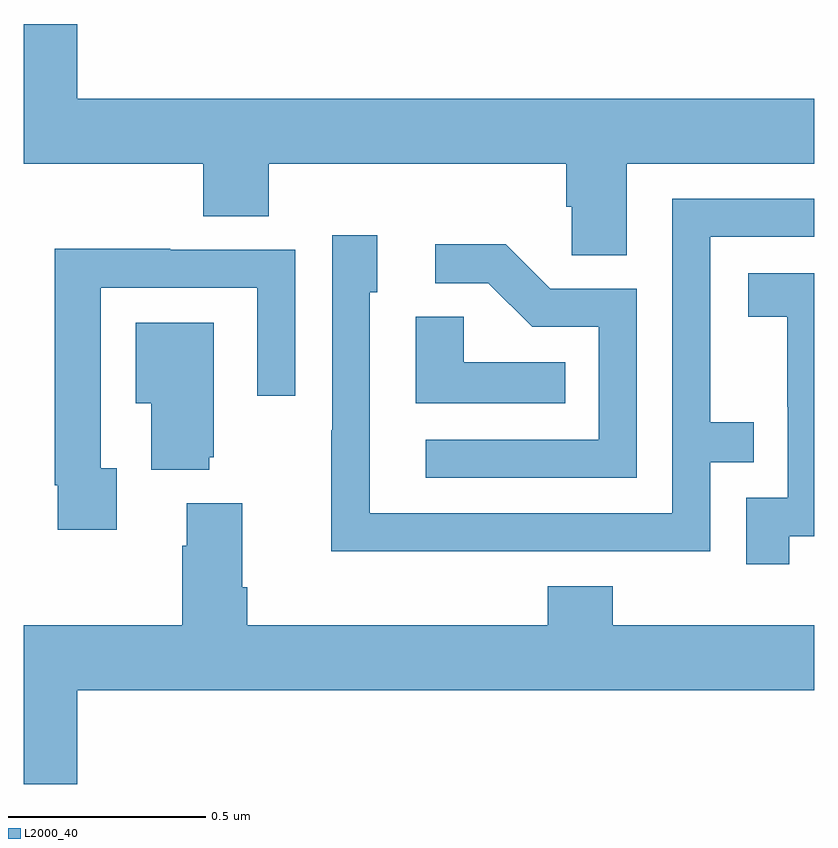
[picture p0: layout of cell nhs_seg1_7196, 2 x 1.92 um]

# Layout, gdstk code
import gdstk
lib = gdstk.Library(unit=1e-6, precision=1e-09)
def P(c, l, *ps):  # polygons
    for p in ps: c.add(gdstk.Polygon(p, *l))
L2000_40 = (2000, 40)

nhs_seg1_7196 = lib.new_cell('nhs_seg1_7196')
P(nhs_seg1_7196, L2000_40, [(202.525,515.768),(203,515.768),(203,515.932),(201.136,515.932),(201.136,516.121),(201,516.121),(201,515.768),(201.455,515.768),(201.455,515.635),(201.62,515.635),(201.62,515.768),(202.373,515.768),(202.373,515.659),(202.386,515.659),(202.386,515.536),(202.525,515.536)],
  [(202.241,514.788),(202.737,514.788),(202.737,515.013),(202.847,515.013),(202.847,515.114),(202.737,515.114),(202.737,515.583),(203,515.583),(203,515.679),(202.641,515.679),(202.641,514.884),(201.876,514.884),(201.876,515.442),(201.895,515.442),(201.895,515.587),(201.78,515.587),(201.78,515.093),(201.778,515.093),(201.778,514.787),(202.241,514.787)],
  [(202.551,515.451),(202.332,515.451),(202.219,515.564),(202.041,515.564),(202.041,515.466),(202.175,515.466),(202.286,515.355),(202.455,515.355),(202.455,515.07),(202.017,515.07),(202.017,514.974),(202.551,514.974)],
  [(201.235,514.998),(201.195,514.998),(201.195,515.454),(201.591,515.454),(201.591,515.181),(201.687,515.181),(201.687,515.55),(201.371,515.55),(201.371,515.552),(201.079,515.552),(201.079,514.954),(201.087,514.954),(201.087,514.842),(201.235,514.842)],
  [(202.936,514.825),(203,514.825),(203,515.491),(202.833,515.491),(202.833,515.381),(202.931,515.381),(202.931,515.153),(202.932,515.153),(202.932,514.923),(202.827,514.923),(202.827,514.755),(202.936,514.755)],
  [(202.37,515.266),(202.113,515.266),(202.113,515.381),(201.992,515.381),(201.992,515.162),(202.37,515.162)],
  [(201.47,515.025),(201.481,515.025),(201.481,515.365),(201.284,515.365),(201.284,515.162),(201.323,515.162),(201.323,514.994),(201.47,514.994)],
  [(201.136,514.436),(203,514.436),(203,514.6),(202.49,514.6),(202.49,514.699),(202.325,514.699),(202.325,514.6),(201.566,514.6),(201.566,514.696),(201.553,514.696),(201.553,514.909),(201.413,514.909),(201.413,514.802),(201.401,514.802),(201.401,514.6),(201,514.6),(201,514.199),(201.136,514.199)])

lib.write_gds('nhs_seg1_7196.gds')
